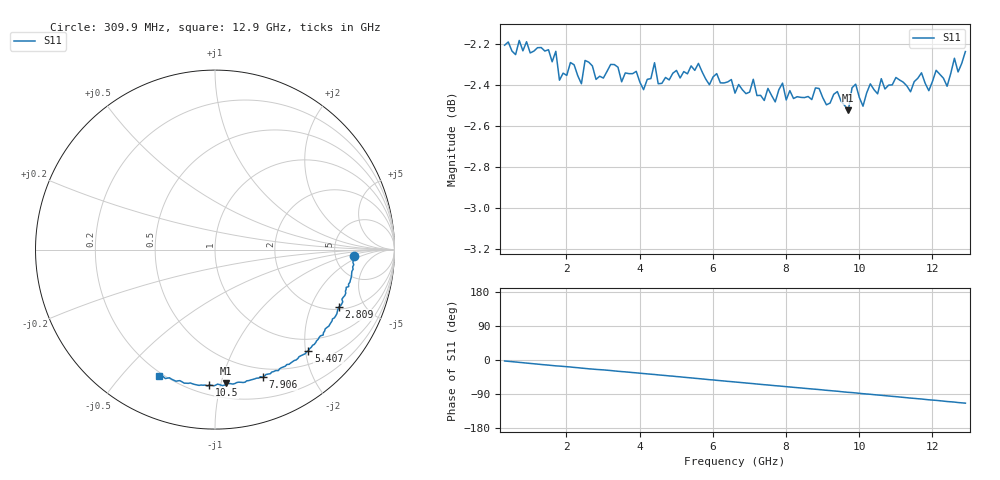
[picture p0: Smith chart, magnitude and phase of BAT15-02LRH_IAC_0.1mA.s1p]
! Infineon Technologies  Discrete & RF Semiconductors
! BAT15-02LRH
! IAC = 0.1 mA
! One-Port S-Parameters
# Hz  S  MA  R  50
!f  S11
!Hz  Mag  Ang
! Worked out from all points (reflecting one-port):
!   127 points, 309.9 MHz to 12.9 GHz, reference 50 ohm
!   lowest |S11| = -2.5 dB at 9.705 GHz (marker M1), VSWR 6.93, Z = 15.3 - j51.8 ohm
!   phase of S11 starts at -3 deg and turns -111 deg over the sweep
!   S11 on the Smith chart (normalised r, x): 309.9 MHz: 7.67, -1.34; 2.809 GHz: 2.13, -3.23; 5.407 GHz: 0.76, -2.06; 7.906 GHz: 0.41, -1.36; 10.5 GHz: 0.26, -0.92; 12.9 GHz: 0.18, -0.64
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3.0985e8  0.7756 -2.6
9.0955e8  0.7771 -8.1
1.70915e9  0.7729 -15.5
1.8091e9  0.7605 -16.1
1.90905e9  0.7635 -16.8
2.10895e9  0.7681 -18.5
2.4088e9  0.759 -21.4
2.50875e9  0.769 -22.2
2.8086e9  0.7609 -24.8
3.2084e9  0.7673 -27.8
3.50825e9  0.7598 -30.6
4.4078e9  0.768 -38.3
5.10745e9  0.7615 -44.4
5.4073e9  0.7667 -47.2
6.6067e9  0.755 -58.0
7.90605e9  0.7593 -69.4
8.2059e9  0.7528 -72.1
8.90555e9  0.757 -78.0
9.70515e9  0.7478 -85.4
9.8051e9  0.7573 -86.0
1.050475e10  0.7547 -92.4
1.10045e10  0.7617 -96.7
1.14043e10  0.7556 -100.5
1.170415e10  0.7637 -103.0
1.24038e10  0.758 -109.6
1.26037e10  0.7699 -111.1
1.270365e10  0.7641 -112.2
1.290355e10  0.7728 -113.8
